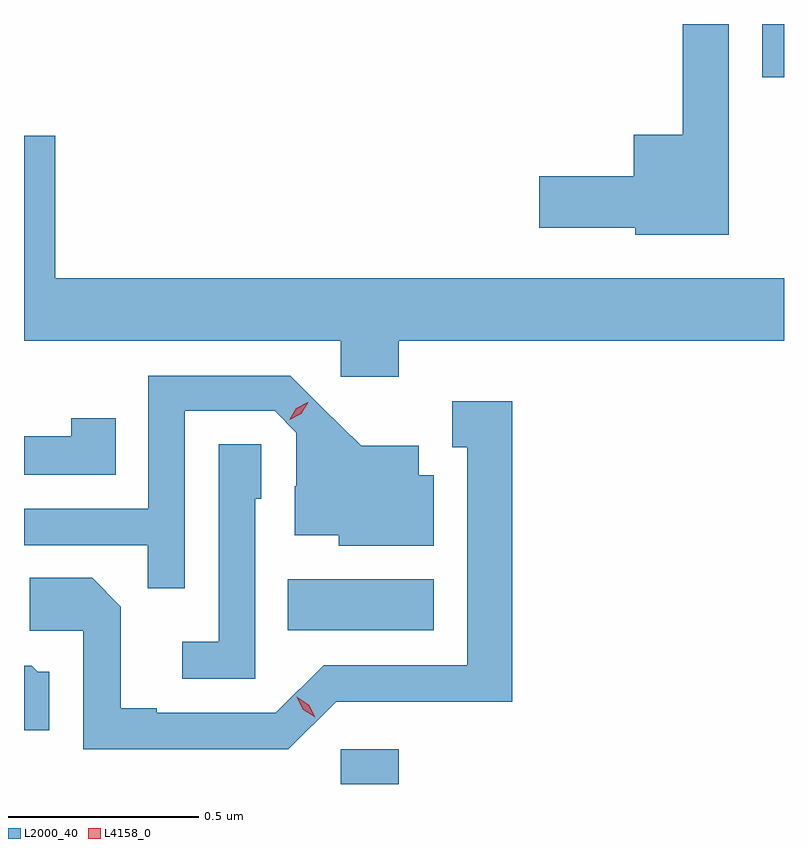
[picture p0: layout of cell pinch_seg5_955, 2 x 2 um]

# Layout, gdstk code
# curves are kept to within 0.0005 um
import gdstk
lib = gdstk.Library(unit=1e-6, precision=1e-09)
def R(c, l, rs):  # rectangles x0, y0, x1, y1
    for r in rs: c.add(gdstk.rectangle(r[:2], r[2:], *l))
def P(c, l, *ps):  # polygons
    for p in ps: c.add(gdstk.Polygon(p, *l))
L2000_40 = (2000, 40)
L4158_0 = (4158, 0)

pinch_seg5_955 = lib.new_cell('pinch_seg5_955')
R(pinch_seg5_955, L2000_40, [(669.42,912.869,669.572,912.961), (669.28,913.274,669.664,913.408), (670.529,914.729,670.586,914.869)])
P(pinch_seg5_955, L2000_40, [(670.441,914.869),(670.32,914.869),(670.32,914.578),(670.19,914.578),(670.19,914.468),(669.942,914.468),(669.942,914.333),(670.194,914.333),(670.194,914.315),(670.441,914.315)],
  [(669.572,914.036),(670.586,914.036),(670.586,914.2),(668.668,914.2),(668.668,914.575),(668.586,914.575),(668.586,914.036),(669.42,914.036),(669.42,913.941),(669.572,913.941)],
  [(669.009,913.851),(669.246,913.851),(669.303,913.794),(669.303,913.652),(669.299,913.652),(669.299,913.523),(669.414,913.523),(669.414,913.496),(669.664,913.496),(669.664,913.681),(669.625,913.681),(669.625,913.759),(669.473,913.759),(669.286,913.944),(668.913,913.944),(668.913,913.593),(668.586,913.593),(668.586,913.497),(668.911,913.497),(668.911,913.384),(669.009,913.384)],
  [(669.408,913.086),(669.63,913.086),(669.63,913.085),(669.871,913.085),(669.871,913.876),(669.713,913.876),(669.713,913.755),(669.752,913.755),(669.752,913.182),(669.375,913.182),(669.249,913.056),(668.935,913.056),(668.935,913.069),(668.841,913.069),(668.841,913.336),(668.765,913.412),(668.601,913.412),(668.601,913.272),(668.742,913.272),(668.742,912.96),(669.282,912.96)],
  [(668.828,913.831),(668.71,913.831),(668.71,913.784),(668.586,913.784),(668.586,913.683),(668.828,913.683)],
  [(669.195,913.62),(669.21,913.62),(669.21,913.763),(669.099,913.763),(669.099,913.243),(669.003,913.243),(669.003,913.146),(669.195,913.146)],
  [(668.653,913.164),(668.622,913.164),(668.606,913.18),(668.586,913.18),(668.586,913.01),(668.653,913.01)])
P(pinch_seg5_955, L4158_0, [(669.352,913.045),(669.321,913.064),(669.304,913.097),(669.304,913.098),(669.304,913.098),(669.335,913.078),(669.352,913.045),(669.352,913.045)],
  [(669.285,913.828),(669.285,913.829),(669.303,913.858),(669.333,913.873),(669.334,913.873),(669.334,913.873),(669.316,913.843),(669.285,913.828)])

lib.write_gds('pinch_seg5_955.gds')
